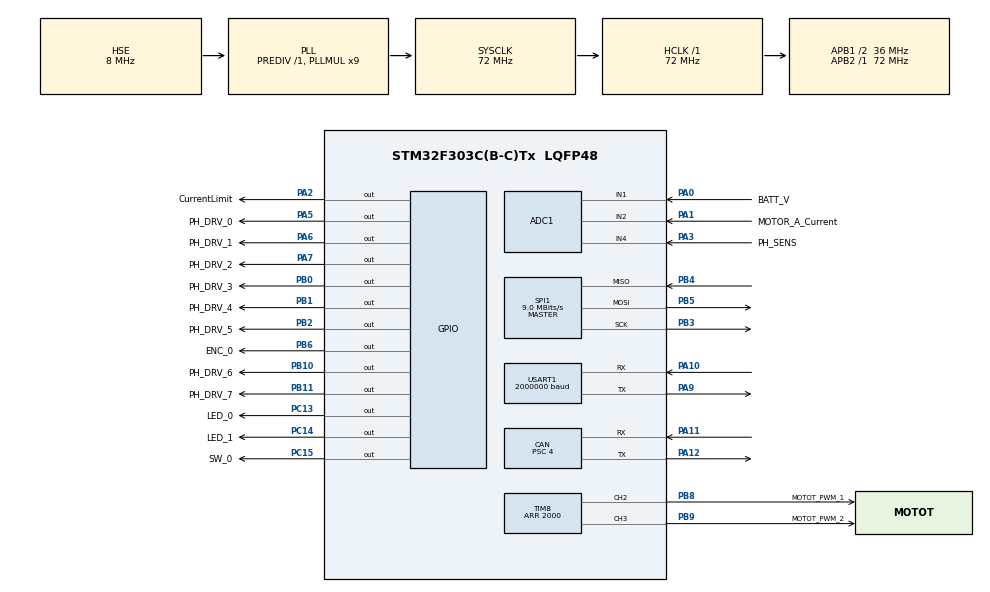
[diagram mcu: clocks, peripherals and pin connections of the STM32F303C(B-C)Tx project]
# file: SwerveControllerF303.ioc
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ADC1.Channel-1\#ChannelRegularConversion=ADC_CHANNEL_1
ADC1.Channel-5\#ChannelRegularConversion=ADC_CHANNEL_2
ADC1.Channel-6\#ChannelRegularConversion=ADC_CHANNEL_4
ADC1.ContinuousConvMode=ENABLE
ADC1.DMAContinuousRequests=ENABLE
ADC1.InjNumberOfConversion=3
ADC1.InjectedChannel-2\#ChannelInjectedConversion=ADC_CHANNEL_1
ADC1.InjectedChannel-3\#ChannelInjectedConversion=ADC_CHANNEL_2
ADC1.InjectedChannel-4\#ChannelInjectedConversion=ADC_CHANNEL_4
ADC1.InjectedConvMode=None
ADC1.InjectedOffset-2\#ChannelInjectedConversion=0
ADC1.InjectedOffset-3\#ChannelInjectedConversion=0
ADC1.InjectedOffset-4\#ChannelInjectedConversion=0
ADC1.InjectedOffsetNumber-2\#ChannelInjectedConversion=ADC_OFFSET_1
ADC1.InjectedOffsetNumber-3\#ChannelInjectedConversion=ADC_OFFSET_2
ADC1.InjectedOffsetNumber-4\#ChannelInjectedConversion=ADC_OFFSET_3
ADC1.InjectedRank-2\#ChannelInjectedConversion=1
ADC1.InjectedRank-3\#ChannelInjectedConversion=2
ADC1.InjectedRank-4\#ChannelInjectedConversion=3
ADC1.InjectedSamplingTime-2\#ChannelInjectedConversion=ADC_SAMPLETIME_181CYCLES_5
ADC1.InjectedSamplingTime-3\#ChannelInjectedConversion=ADC_SAMPLETIME_181CYCLES_5
ADC1.InjectedSamplingTime-4\#ChannelInjectedConversion=ADC_SAMPLETIME_181CYCLES_5
ADC1.InjectedSamplingTimeOPAMP-2\#ChannelInjectedConversion=ADC_SAMPLETIME_61CYCLES_5
ADC1.InjectedSamplingTimeOPAMP-3\#ChannelInjectedConversion=ADC_SAMPLETIME_61CYCLES_5
ADC1.InjectedSamplingTimeOPAMP-4\#ChannelInjectedConversion=ADC_SAMPLETIME_61CYCLES_5
ADC1.NbrOfConversion=3
ADC1.NbrOfConversionFlag=1
ADC1.Offset-1\#ChannelRegularConversion=0
ADC1.Offset-5\#ChannelRegularConversion=0
ADC1.Offset-6\#ChannelRegularConversion=0
ADC1.OffsetNumber-1\#ChannelRegularConversion=ADC_OFFSET_NONE
ADC1.OffsetNumber-5\#ChannelRegularConversion=ADC_OFFSET_NONE
ADC1.OffsetNumber-6\#ChannelRegularConversion=ADC_OFFSET_NONE
ADC1.Rank-1\#ChannelRegularConversion=1
ADC1.Rank-5\#ChannelRegularConversion=2
ADC1.Rank-6\#ChannelRegularConversion=3
ADC1.Rank1_Channel=ADC_CHANNEL_1
ADC1.Rank2_Channel=ADC_CHANNEL_2
ADC1.Rank3_Channel=ADC_CHANNEL_4
ADC1.SamplingTime-1\#ChannelRegularConversion=ADC_SAMPLETIME_181CYCLES_5
ADC1.SamplingTime-5\#ChannelRegularConversion=ADC_SAMPLETIME_181CYCLES_5
ADC1.SamplingTime-6\#ChannelRegularConversion=ADC_SAMPLETIME_601CYCLES_5
ADC1.SamplingTimeOPAMP-5\#ChannelRegularConversion=ADC_SAMPLETIME_61CYCLES_5
ADC1.SamplingTimeOPAMP-6\#ChannelRegularConversion=ADC_SAMPLETIME_61CYCLES_5
ADC1.SequencerNbRanks=0
ADC1.master=1
CAN.BS1=CAN_BS1_4TQ
CAN.BS2=CAN_BS2_4TQ
CAN.CalculateBaudRate=1000000
CAN.CalculateTimeBit=1000
CAN.CalculateTimeQuantum=111.11111111111111
CAN.Prescaler=4
Dma.ADC1.1.Direction=DMA_PERIPH_TO_MEMORY
Dma.ADC1.1.Instance=DMA1_Channel1
Dma.ADC1.1.MemDataAlignment=DMA_MDATAALIGN_HALFWORD
Dma.ADC1.1.MemInc=DMA_MINC_ENABLE
Dma.ADC1.1.Mode=DMA_CIRCULAR
Dma.ADC1.1.PeriphDataAlignment=DMA_PDATAALIGN_HALFWORD
Dma.ADC1.1.PeriphInc=DMA_PINC_DISABLE
Dma.ADC1.1.Priority=DMA_PRIORITY_LOW
Dma.Request0=USART1_TX
Dma.Request1=ADC1
Dma.USART1_TX.0.Direction=DMA_MEMORY_TO_PERIPH
Dma.USART1_TX.0.Instance=DMA1_Channel4
Dma.USART1_TX.0.MemDataAlignment=DMA_MDATAALIGN_BYTE
Dma.USART1_TX.0.MemInc=DMA_MINC_ENABLE
Dma.USART1_TX.0.Mode=DMA_NORMAL
Dma.USART1_TX.0.PeriphDataAlignment=DMA_PDATAALIGN_BYTE
Dma.USART1_TX.0.PeriphInc=DMA_PINC_DISABLE
Dma.USART1_TX.0.Priority=DMA_PRIORITY_LOW
Mcu.Family=STM32F3
Mcu.Name=STM32F303C(B-C)Tx
Mcu.Package=LQFP48
NVIC.DMA1_Channel1_IRQn=true\:0\:0\:false\:false\:true\:false\:true\:true
NVIC.DMA1_Channel4_IRQn=true\:0\:0\:false\:false\:true\:false\:true\:true
NVIC.PriorityGroup=NVIC_PRIORITYGROUP_4
NVIC.TIM7_IRQn=true\:0\:0\:false\:false\:true\:true\:true\:true
NVIC.USART1_IRQn=true\:0\:0\:false\:false\:true\:true\:true\:true
NVIC.USB_HP_CAN_TX_IRQn=true\:0\:0\:false\:false\:true\:true\:true\:true
NVIC.USB_LP_CAN_RX0_IRQn=true\:0\:0\:false\:false\:true\:true\:true\:true
PA0.GPIO_Label=BATT_V
PA0.Mode=IN1-Single-Ended
PA0.Signal=ADC1_IN1
PA1.GPIO_Label=MOTOR_A_Current
PA1.Mode=IN2-Single-Ended
PA1.Signal=ADC1_IN2
PA10.Mode=Asynchronous
PA10.Signal=USART1_RX
PA11.Mode=CAN_Activate
PA11.Signal=CAN_RX
PA12.Mode=CAN_Activate
PA12.Signal=CAN_TX
PA13.Mode=Serial_Wire
PA13.Signal=SYS_JTMS-SWDIO
PA14.Mode=Serial_Wire
PA14.Signal=SYS_JTCK-SWCLK
PA2.GPIO_Label=CurrentLimit
PA2.Signal=GPIO_Output
PA3.GPIO_Label=PH_SENS
PA3.Mode=IN4-Single-Ended
PA3.Signal=ADC1_IN4
PA5.GPIO_Label=PH_DRV_0
PA5.Signal=GPIO_Output
PA6.GPIO_Label=PH_DRV_1
PA6.Signal=GPIO_Output
PA7.GPIO_Label=PH_DRV_2
PA7.Signal=GPIO_Output
PA9.Mode=Asynchronous
PA9.Signal=USART1_TX
PB0.GPIO_Label=PH_DRV_3
PB0.Signal=GPIO_Output
PB1.GPIO_Label=PH_DRV_4
PB1.Signal=GPIO_Output
PB10.GPIO_Label=PH_DRV_6
PB10.Signal=GPIO_Output
PB11.GPIO_Label=PH_DRV_7
PB11.Signal=GPIO_Output
PB2.GPIO_Label=PH_DRV_5
PB2.Signal=GPIO_Output
PB3.Mode=Full_Duplex_Master
PB3.Signal=SPI1_SCK
PB4.Mode=Full_Duplex_Master
PB4.Signal=SPI1_MISO
PB5.Mode=Full_Duplex_Master
PB5.Signal=SPI1_MOSI
PB6.GPIO_Label=ENC_0
PB6.Signal=GPIO_Output
PB8.GPIO_Label=MOTOT_PWM_1
PB8.Signal=S_TIM8_CH2
PB9.GPIO_Label=MOTOT_PWM_2
PB9.Signal=S_TIM8_CH3
PC13.GPIO_Label=LED_0
PC13.Signal=GPIO_Output
PC14-OSC32_IN.GPIO_Label=LED_1
PC14-OSC32_IN.Signal=GPIO_Output
PC15-OSC32_OUT.GPIO_Label=SW_0
PC15-OSC32_OUT.Signal=GPIO_Output
PF0-OSC_IN.Mode=HSE-External-Oscillator
PF0-OSC_IN.Signal=RCC_OSC_IN
PF1-OSC_OUT.Mode=HSE-External-Oscillator
PF1-OSC_OUT.Signal=RCC_OSC_OUT
ProjectManager.HeapSize=0x200
ProjectManager.StackSize=0x400
ProjectManager.TargetToolchain=STM32CubeIDE
RCC.AHBFreq_Value=72000000
RCC.APB1CLKDivider=RCC_HCLK_DIV2
RCC.APB1Freq_Value=36000000
RCC.APB1TimFreq_Value=72000000
RCC.APB2Freq_Value=72000000
RCC.APB2TimFreq_Value=72000000
RCC.CortexFreq_Value=72000000
RCC.HCLKFreq_Value=72000000
RCC.HSE_VALUE=8000000
RCC.HSI_VALUE=8000000
RCC.LSE_VALUE=32768
RCC.PLLMUL=RCC_PLL_MUL9
RCC.PLLSourceVirtual=RCC_PLLSOURCE_HSE
RCC.SYSCLKFreq_VALUE=72000000
RCC.SYSCLKSourceVirtual=RCC_SYSCLKSOURCE_PLLCLK
RCC.USBFreq_Value=72000000
SH.S_TIM8_CH2.0=TIM8_CH2,PWM Generation2 CH2
SH.S_TIM8_CH3.0=TIM8_CH3,PWM Generation3 CH3
SPI1.BaudRatePrescaler=SPI_BAUDRATEPRESCALER_8
SPI1.CLKPhase=SPI_PHASE_2EDGE
SPI1.CalculateBaudRate=9.0 MBits/s
SPI1.DataSize=SPI_DATASIZE_16BIT
SPI1.Direction=SPI_DIRECTION_2LINES
SPI1.Mode=SPI_MODE_MASTER
SPI1.VirtualType=VM_MASTER
TIM7.AutoReloadPreload=TIM_AUTORELOAD_PRELOAD_ENABLE
TIM7.Period=1000
TIM7.Prescaler=71
TIM8.Channel-PWM\ Generation2\ CH2=TIM_CHANNEL_2
TIM8.Channel-PWM\ Generation3\ CH3=TIM_CHANNEL_3
TIM8.Period=2000
USART1.BaudRate=2000000
USART1.VirtualMode-Asynchronous=VM_ASYNC
VP_TIM7_VS_ClockSourceINT.Mode=Enable_Timer
board=custom

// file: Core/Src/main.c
/* USER CODE BEGIN Header */
/**
  ******************************************************************************
  * @file           : main.c
  * @brief          : Main program body
  ******************************************************************************
  * @attention
  *
  * Copyright (c) 2025 STMicroelectronics.
  * All rights reserved.
  *
  * This software is licensed under terms that can be found in the LICENSE file
  * in the root directory of this software component.
  * If no LICENSE file comes with this software, it is provided AS-IS.
  *
  ******************************************************************************
  */
/* USER CODE END Header */
#include "main.h"

#include "adc.h"
#include "can.h"
#include "dma.h"
#include "gpio.h"
#include "spi.h"
#include "tim.h"
#include "usart.h"

/* USER CODE BEGIN Includes */
#include <math.h>
#include <stdbool.h>

#include "app_settings.h"
#include "as5047p.h"
#include "can_fifo.h"
#include "config_mode.h"
#include "debug_print.h"
#include "error_monitor.h"
#include "motor_drive.h"
#include "photo_control.h"
/* USER CODE END Includes */

void SystemClock_Config(void);

/* USER CODE BEGIN 0 */

struct
{
  float kd, kp, ki;
  float ki_limit;
} pid = {.kp = 2.5, .ki = 0.5, .kd = -0.03};
struct
{
  float intg, duty;
} out_limit = {.intg = 0.1, .duty = 0.0};
struct
{
  float cur_rad, pre_rad_raw;
  float rad_per_sec;
} motor = {0};
struct
{
  float rad_per_sec;
  float rad;
} target = {0};
struct
{
  float pos, div, intg;
  float intg_limit;
} diff = {0};
float out_duty = 0;

as5047p_t enc;
static const int CYCLE_PER_SEC = 1000;
static void uart_adjust_pid_from_rx(void)
{
  /* q/a: Kp +/- , w/s: Ki +/- , e/d: Kd +/- */
  const float step_kp = 0.1f;
  const float step_ki = 0.01f;
  const float step_kd = 0.01f;
  uint8_t ch;
  bool changed = false;
  while (uart_rx_get_byte(&ch)) {
    switch (ch) {
      case 'q':
        pid.kp += step_kp;
        changed = true;
        break;
      case 'a':
        pid.kp -= step_kp;
        changed = true;
        break;
      case 'w':
        pid.ki += step_ki;
        changed = true;
        break;
      case 's':
        pid.ki -= step_ki;
        changed = true;
        break;
      case 'e':
        pid.kd += step_kd;
        changed = true;
        break;
      case 'd':
        pid.kd -= step_kd;
        changed = true;
        break;
      case 'r':
        target.rad += M_PI * 0.5 * 2.25;
        changed = true;
        break;
      case 'f':
        target.rad -= M_PI * 0.5 * 2.25;
        changed = true;
        break;
      case 'z':
        out_limit.duty = 0.0;
        break;
      default:
        break;
    }
  }
  if (changed) {
    p("PID kp=%.4f ki=%.4f kd=%.4f\n", pid.kp, pid.ki, pid.kd);
  }
}

static void motor_control_cycle()
{
  as5047p_update(&enc);

  float rad_per_tick = 0;
  rad_per_tick = enc.radian - motor.pre_rad_raw;
  // 0またいだ場合の処理
  if (rad_per_tick > M_PI) {
    rad_per_tick -= 2 * M_PI;
  } else if (rad_per_tick < -M_PI) {
    rad_per_tick += 2 * M_PI;
  }

  // 現在値の更新
  motor.cur_rad += rad_per_tick;
  target.rad += target.rad_per_sec / CYCLE_PER_SEC;

  // diff errorの更新
  diff.pos = target.rad - motor.cur_rad;
  diff.div = rad_per_tick * CYCLE_PER_SEC;
  diff.intg += diff.pos;

  // posだけdead zone追加
  float DEAD_ZONE = 0.02;
  if (diff.pos > DEAD_ZONE) {
    diff.pos -= DEAD_ZONE;
  } else if (diff.pos < -DEAD_ZONE) {
    diff.pos += DEAD_ZONE;
  } else if (fabs(diff.pos) < DEAD_ZONE) {
    diff.pos = 0;
  }

  // div
  /*   float IGNORE_SPEED = 1.0;
  if (diff.div > IGNORE_SPEED) {
    diff.div -= IGNORE_SPEED;
  } else if (diff.div < -IGNORE_SPEED) {
    diff.div += IGNORE_SPEED;
  } else if (fabs(diff.div) < IGNORE_SPEED) {
    diff.div = 0;
  } */

  // intg制限
  if (diff.intg > out_limit.intg) {
    diff.intg = out_limit.intg;
  } else if (diff.intg < -out_limit.intg) {
    diff.intg = -out_limit.intg;
  }

  // エラーラッチ中は強制0出力
  if (error_monitor_is_latched()) {
    out_duty = 0.0f;
    motor_drive_set(0.0f);
    motor.pre_rad_raw = enc.radian;
    return;
  }

  // 出力と計算
  out_duty = diff.pos * pid.kp + diff.div * pid.kd + diff.intg * pid.ki;
  if (out_duty > out_limit.duty) {
    out_duty = out_limit.duty;
  } else if (out_duty < -out_limit.duty) {
    out_duty = -out_limit.duty;
  }

  motor_drive_set(out_duty);

  motor.pre_rad_raw = enc.radian;
}

void HAL_TIM_PeriodElapsedCallback(TIM_HandleTypeDef * htim) { motor_control_cycle(); }
/* USER CODE END 0 */

int main(void)
{

  /* MCU Configuration--------------------------------------------------------*/

  /* Reset of all peripherals, Initializes the Flash interface and the Systick. */
  HAL_Init();

  /* Configure the system clock */
  SystemClock_Config();

  /* Initialize all configured peripherals */
  MX_GPIO_Init();
  MX_DMA_Init();
  MX_ADC1_Init();
  MX_CAN_Init();
  MX_USART1_UART_Init();
  MX_TIM8_Init();
  MX_SPI1_Init();
  MX_TIM7_Init();
  /* USER CODE BEGIN 2 */
  HAL_ADCEx_Calibration_Start(&hadc1, ADC_SINGLE_ENDED);
  __HAL_SPI_ENABLE(&hspi1);

  debug_print_init();
  motor_drive_init();
  can_fifo_init();
  error_monitor_init();

  setTextCyan();
  p("\n\nibis SwerveDrive Controller\n\n");
  setTextNormal();

  config_mode_init();
  config_mode_run_window();

  uint16_t adc_raw[3] = {0};
  HAL_ADC_Start_DMA(&hadc1, (uint32_t *)&adc_raw, 3);

  as5047p_update(&enc);
  motor.pre_rad_raw = enc.radian;
  // モーター制御サイクル開始
  HAL_TIM_Base_Start_IT(&htim7);

  out_limit.duty = 1.0;
  out_limit.intg = 0.1;
  target.rad_per_sec = -1.0;
  // ステアリングフォトエンコーダは正回転で増加するが､モーターとは逆回転

  uint16_t ph_idx[8] = {0};
  int start_idx = -1, end_idx = 0;
  bool calib_mode = true;
  bool print_flag = false;
  int pre_idx = 0;
  while (calib_mode) {
    int idx_max = 0, ph_max = 0;
    for (int i = 0; i < 8; i++) {
      photo_controller_cycle();
      HAL_Delay(1);
      ph_idx[i] = adc_raw[2];
      if (ph_max < ph_idx[i]) {
        ph_max = ph_idx[i];
        idx_max = i;
      }
    }
    if (start_idx < 0) {
      start_idx = idx_max;
      end_idx = (start_idx + 2) & 0x7;
    }
    //p("s %d %d idx :  %d\n", start_idx, end_idx, idx_max);

    /*     if (pre_idx != idx_max && (pre_idx < idx_max || idx_max == 0)) {
      p("Sw %d enc %d \n", idx_max, 360 * enc.enc_raw / 65535);
      pre_idx = idx_max;
    } */
    if (end_idx == idx_max) {
      calib_mode = false;
    }
  }
  int swerve_offset = end_idx * 2.25 * 360 / 8;
  int enc_angle = 360 * enc.enc_raw / 65535;
  p("end %d enc zero = %d , %4d , %4d\n", end_idx, enc_angle, swerve_offset, swerve_offset + enc_angle);
  // エンコーダはステアの2.25倍回転する
  //

  /* USER CODE END 2 */

  /* Infinite loop */
  /* USER CODE BEGIN WHILE */

  out_limit.duty = 1.0;
  out_limit.intg = 0.1;
  target.rad_per_sec = 0;
  while (1) {
    uart_adjust_pid_from_rx();
    /* エラーモニタ更新（100ms周期）*/
    float current_a = ((float)adc_raw[1]) * (2.0f / 4095.0f);
    float steering_rad = motor.cur_rad / 2.25f;
    error_monitor_update(current_a, steering_rad);
    static uint32_t prev_err = 0;
    if (error_monitor_is_latched() && prev_err == 0) {
      prev_err = error_monitor_reason();
      setTextRed();
      setTextBold();
      p("[ERR] latched reason=0x%08lX I=%.2fA ang=%.2frad\n", (unsigned long)prev_err, current_a, steering_rad);
      setTextNormal();
    }
    HAL_Delay(10);

    int idx_max = 0, ph_max = 0;
    for (int i = 0; i < 8; i++) {
      photo_controller_cycle();
      HAL_Delay(1);
      ph_idx[i] = adc_raw[2];
      if (ph_max < ph_idx[i]) {
        ph_max = ph_idx[i];
        idx_max = i;
      }
    }
    //p("ENC %6d deg / %d\n", 360 * enc.enc_raw / 65535, idx_max);
    //p("%4d %4d %4d / Out %+4.2f Tar %+4.2f Mtr %+4.2f \n", adc_raw[0], adc_raw[1], adc_raw[2], out_duty, target.rad, motor.cur_rad);
  }

  /* USER CODE END 3 */
}

void SystemClock_Config(void)
{
  RCC_OscInitTypeDef RCC_OscInitStruct = {0};
  RCC_ClkInitTypeDef RCC_ClkInitStruct = {0};
  RCC_PeriphCLKInitTypeDef PeriphClkInit = {0};

  /** Initializes the RCC Oscillators according to the specified parameters
  * in the RCC_OscInitTypeDef structure.
  */
  RCC_OscInitStruct.OscillatorType = RCC_OSCILLATORTYPE_HSE;
  RCC_OscInitStruct.HSEState = RCC_HSE_ON;
  RCC_OscInitStruct.HSEPredivValue = RCC_HSE_PREDIV_DIV1;
  RCC_OscInitStruct.HSIState = RCC_HSI_ON;
  RCC_OscInitStruct.PLL.PLLState = RCC_PLL_ON;
  RCC_OscInitStruct.PLL.PLLSource = RCC_PLLSOURCE_HSE;
  RCC_OscInitStruct.PLL.PLLMUL = RCC_PLL_MUL9;
  if (HAL_RCC_OscConfig(&RCC_OscInitStruct) != HAL_OK) {
    Error_Handler();
  }

  /** Initializes the CPU, AHB and APB buses clocks
  */
  RCC_ClkInitStruct.ClockType = RCC_CLOCKTYPE_HCLK | RCC_CLOCKTYPE_SYSCLK | RCC_CLOCKTYPE_PCLK1 | RCC_CLOCKTYPE_PCLK2;
  RCC_ClkInitStruct.SYSCLKSource = RCC_SYSCLKSOURCE_PLLCLK;
  RCC_ClkInitStruct.AHBCLKDivider = RCC_SYSCLK_DIV1;
  RCC_ClkInitStruct.APB1CLKDivider = RCC_HCLK_DIV2;
  RCC_ClkInitStruct.APB2CLKDivider = RCC_HCLK_DIV1;

  if (HAL_RCC_ClockConfig(&RCC_ClkInitStruct, FLASH_LATENCY_2) != HAL_OK) {
    Error_Handler();
  }
  PeriphClkInit.PeriphClockSelection = RCC_PERIPHCLK_USART1 | RCC_PERIPHCLK_TIM8 | RCC_PERIPHCLK_ADC12;
  PeriphClkInit.Usart1ClockSelection = RCC_USART1CLKSOURCE_PCLK2;
  PeriphClkInit.Adc12ClockSelection = RCC_ADC12PLLCLK_DIV1;
  PeriphClkInit.Tim8ClockSelection = RCC_TIM8CLK_HCLK;
  if (HAL_RCCEx_PeriphCLKConfig(&PeriphClkInit) != HAL_OK) {
    Error_Handler();
  }
}

void Error_Handler(void)
{
  /* USER CODE BEGIN Error_Handler_Debug */
  /* User can add his own implementation to report the HAL error return state */
  setTextBold();
  setTextRed();
  p("!! ERROR !!");
  __disable_irq();
  while (1) {
  }
  /* USER CODE END Error_Handler_Debug */
}
